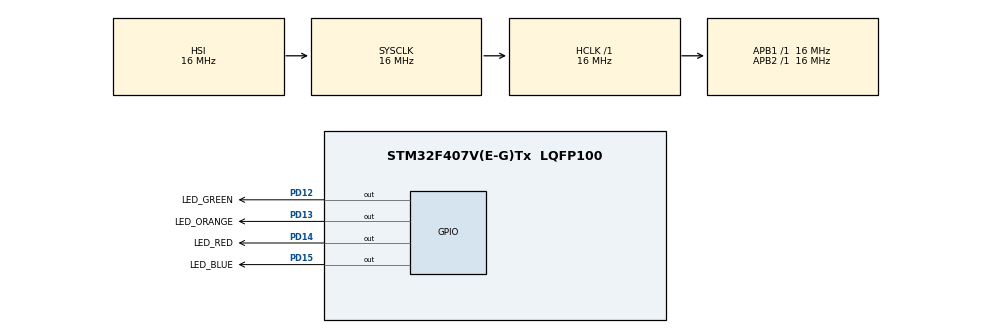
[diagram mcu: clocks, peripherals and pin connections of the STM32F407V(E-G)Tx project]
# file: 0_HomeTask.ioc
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Mcu.Family=STM32F4
Mcu.Name=STM32F407V(E-G)Tx
Mcu.Package=LQFP100
NVIC.PriorityGroup=NVIC_PRIORITYGROUP_4
PD12.GPIO_Label=LED_GREEN
PD12.Signal=GPIO_Output
PD13.GPIO_Label=LED_ORANGE
PD13.PinState=GPIO_PIN_RESET
PD13.Signal=GPIO_Output
PD14.GPIO_Label=LED_RED
PD14.Signal=GPIO_Output
PD15.GPIO_Label=LED_BLUE
PD15.Signal=GPIO_Output
ProjectManager.HeapSize=0x200
ProjectManager.StackSize=0x400
ProjectManager.TargetToolchain=STM32CubeIDE
RCC.AHBFreq_Value=16000000
RCC.APB1Freq_Value=16000000
RCC.APB2Freq_Value=16000000
RCC.CortexFreq_Value=16000000
RCC.HSE_VALUE=25000000
RCC.HSI_VALUE=16000000
RCC.LSE_VALUE=32768
RCC.SYSCLKFreq_VALUE=16000000
RCC.VCOOutputFreq_Value=192000000
board=custom

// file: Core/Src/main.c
/* USER CODE BEGIN Header */
/**
 ******************************************************************************
 * @file           : main.c
 * @brief          : Main program body
 ******************************************************************************
 * @attention
 *
 * <h2><center>&copy; Copyright (c) 2021 STMicroelectronics.
 * All rights reserved.</center></h2>
 *
 * This software component is licensed by ST under BSD 3-Clause license,
 * the "License"; You may not use this file except in compliance with the
 * License. You may obtain a copy of the License at:
 *                        opensource.org/licenses/BSD-3-Clause
 *
 ******************************************************************************
 */
/* USER CODE END Header */
#include "main.h"

/* USER CODE BEGIN PD */
#define BLINK_INTERVAL 100
#define TIMEOUT_BETWEEN_TESTS 500
#define BASIC_NUMBER_OF_TESTS  5
/* USER CODE END PD */

/* USER CODE BEGIN PV */
enum
{
	LEFT, RIGHT
} direction;
/* USER CODE END PV */

void SystemClock_Config(void);
static void MX_GPIO_Init(void);

/* USER CODE BEGIN 0 */

void LED_All_Control(GPIO_PinState state)
{
	HAL_GPIO_WritePin(GPIOD,
	LED_GREEN_Pin | LED_ORANGE_Pin | LED_RED_Pin | LED_BLUE_Pin, state);
	HAL_Delay(BLINK_INTERVAL);
}

void LED_All_Blinks(uint32_t number_of_tests)
{
	HAL_GPIO_WritePin(GPIOD,
	LED_GREEN_Pin | LED_ORANGE_Pin | LED_RED_Pin | LED_BLUE_Pin, GPIO_PIN_RESET);
	for (uint32_t i = 0; i < number_of_tests; i++)
	{
		HAL_GPIO_WritePin(GPIOD,
		LED_GREEN_Pin | LED_ORANGE_Pin | LED_RED_Pin | LED_BLUE_Pin, GPIO_PIN_SET);
		HAL_Delay(BLINK_INTERVAL);
		HAL_GPIO_WritePin(GPIOD,
		LED_GREEN_Pin | LED_ORANGE_Pin | LED_RED_Pin | LED_BLUE_Pin, GPIO_PIN_RESET);
		HAL_Delay(BLINK_INTERVAL);
	}
}

void LED_Round_Blink(uint32_t direction, uint32_t number_of_tests)
{
	uint32_t Led_port = (direction == LEFT) ? 0x8000 : 0x1000;
	for (uint32_t i = 0; i < number_of_tests; i++)
	{
		for (uint32_t j = 0; j < 8; j++)
		{
			HAL_GPIO_TogglePin(GPIOD, Led_port);
			if (direction == LEFT)
			{
				Led_port = Led_port >> 1; //Switch  pins state one by one
				Led_port = (Led_port >= 0x1000) ? Led_port : 0x8000;
				HAL_Delay(BLINK_INTERVAL);
			}
			else if (direction == RIGHT)
			{
				Led_port = Led_port << 1; //Switch  pins state one by one
				Led_port = (Led_port <= 0x8000) ? Led_port : 0x1000;
				HAL_Delay(BLINK_INTERVAL);
			}
			else
				return;
		}
		LED_All_Control(GPIO_PIN_RESET);
	}
}

void LED_Running_Lights(uint32_t direction, uint32_t number_of_tests)
{
	uint32_t Led_port = (direction == LEFT) ? 0x8000 : 0x1000;
	for (uint32_t i = 0; i < number_of_tests; i++)
	{
		for (uint32_t j = 0; j < 8; j++)
		{
			HAL_GPIO_WritePin(GPIOD, Led_port, GPIO_PIN_SET);
			HAL_Delay(BLINK_INTERVAL);
			HAL_GPIO_WritePin(GPIOD, Led_port, GPIO_PIN_RESET);
			if (direction == LEFT)
			{
				Led_port = Led_port >> 1; //Switch  pins state one by one
				Led_port = (Led_port >= 0x1000) ? Led_port : 0x8000;
			}
			else if (direction == RIGHT)
			{
				Led_port = Led_port << 1; //Switch  pins state one by one
				Led_port = (Led_port <= 0x8000) ? Led_port : 0x1000;
			}
			else
				return;
		}
		LED_All_Control(GPIO_PIN_RESET);
	}
}

void LED_Pair_Blinking(uint32_t number_of_tests)
{
	uint32_t count = 0;
	for (uint32_t i = 0; i < number_of_tests; i++)
	{
		if (count % 2 == 0)
		{
			HAL_GPIO_WritePin(GPIOD, LED_GREEN_Pin | LED_RED_Pin, GPIO_PIN_SET);
			HAL_Delay(BLINK_INTERVAL);
			HAL_GPIO_WritePin(GPIOD, LED_GREEN_Pin | LED_RED_Pin, GPIO_PIN_RESET);
			count++;
		}
		else
		{
			HAL_GPIO_WritePin(GPIOD, LED_ORANGE_Pin | LED_BLUE_Pin, GPIO_PIN_SET);
			HAL_Delay(BLINK_INTERVAL);
			HAL_GPIO_WritePin(GPIOD, LED_ORANGE_Pin | LED_BLUE_Pin, GPIO_PIN_RESET);
			count = 0;
		}
	}
}
/* USER CODE END 0 */

int main(void)
{

	/* MCU Configuration--------------------------------------------------------*/

	/* Reset of all peripherals, Initializes the Flash interface and the Systick. */
	HAL_Init();

	/* Configure the system clock */
	SystemClock_Config();

	/* Initialize all configured peripherals */
	MX_GPIO_Init();

	/* Infinite loop */
	/* USER CODE BEGIN WHILE */
	while (1)
	{
		LED_All_Control(GPIO_PIN_SET);
		LED_All_Control(GPIO_PIN_RESET);
		LED_All_Blinks(BASIC_NUMBER_OF_TESTS);
		LED_Round_Blink(LEFT, BASIC_NUMBER_OF_TESTS);
		LED_Round_Blink(RIGHT, BASIC_NUMBER_OF_TESTS);
		LED_Running_Lights(LEFT, BASIC_NUMBER_OF_TESTS);
		LED_Running_Lights(RIGHT, BASIC_NUMBER_OF_TESTS);
		LED_Pair_Blinking(BASIC_NUMBER_OF_TESTS << 1);
		HAL_Delay(TIMEOUT_BETWEEN_TESTS << 2);
		/* USER CODE END WHILE */

	}
}

void SystemClock_Config(void)
{
	RCC_OscInitTypeDef RCC_OscInitStruct =
	{ 0 };
	RCC_ClkInitTypeDef RCC_ClkInitStruct =
	{ 0 };

	/** Configure the main internal regulator output voltage
	 */
	__HAL_RCC_PWR_CLK_ENABLE();
	__HAL_PWR_VOLTAGESCALING_CONFIG(PWR_REGULATOR_VOLTAGE_SCALE1);
	/** Initializes the RCC Oscillators according to the specified parameters
	 * in the RCC_OscInitTypeDef structure.
	 */
	RCC_OscInitStruct.OscillatorType = RCC_OSCILLATORTYPE_HSI;
	RCC_OscInitStruct.HSIState = RCC_HSI_ON;
	RCC_OscInitStruct.HSICalibrationValue = RCC_HSICALIBRATION_DEFAULT;
	RCC_OscInitStruct.PLL.PLLState = RCC_PLL_NONE;
	if (HAL_RCC_OscConfig(&RCC_OscInitStruct) != HAL_OK)
	{
		Error_Handler();
	}
	/** Initializes the CPU, AHB and APB buses clocks
	 */
	RCC_ClkInitStruct.ClockType = RCC_CLOCKTYPE_HCLK | RCC_CLOCKTYPE_SYSCLK | RCC_CLOCKTYPE_PCLK1 | RCC_CLOCKTYPE_PCLK2;
	RCC_ClkInitStruct.SYSCLKSource = RCC_SYSCLKSOURCE_HSI;
	RCC_ClkInitStruct.AHBCLKDivider = RCC_SYSCLK_DIV1;
	RCC_ClkInitStruct.APB1CLKDivider = RCC_HCLK_DIV1;
	RCC_ClkInitStruct.APB2CLKDivider = RCC_HCLK_DIV1;

	if (HAL_RCC_ClockConfig(&RCC_ClkInitStruct, FLASH_LATENCY_0) != HAL_OK)
	{
		Error_Handler();
	}
}

static void MX_GPIO_Init(void)
{
	GPIO_InitTypeDef GPIO_InitStruct =
	{ 0 };

	/* GPIO Ports Clock Enable */
	__HAL_RCC_GPIOD_CLK_ENABLE();

	/*Configure GPIO pin Output Level */
	HAL_GPIO_WritePin(GPIOD,
	LED_GREEN_Pin | LED_ORANGE_Pin | LED_RED_Pin | LED_BLUE_Pin, GPIO_PIN_RESET);

	/*Configure GPIO pins : LED_GREEN_Pin LED_ORANGE_Pin LED_RED_Pin LED_BLUE_Pin */
	GPIO_InitStruct.Pin = LED_GREEN_Pin | LED_ORANGE_Pin | LED_RED_Pin | LED_BLUE_Pin;
	GPIO_InitStruct.Mode = GPIO_MODE_OUTPUT_PP;
	GPIO_InitStruct.Pull = GPIO_NOPULL;
	GPIO_InitStruct.Speed = GPIO_SPEED_FREQ_LOW;
	HAL_GPIO_Init(GPIOD, &GPIO_InitStruct);

}

void Error_Handler(void)
{
	__disable_irq();
	while (1)
	{
	}
}

/************************ (C) COPYRIGHT STMicroelectronics *****END OF FILE****/
